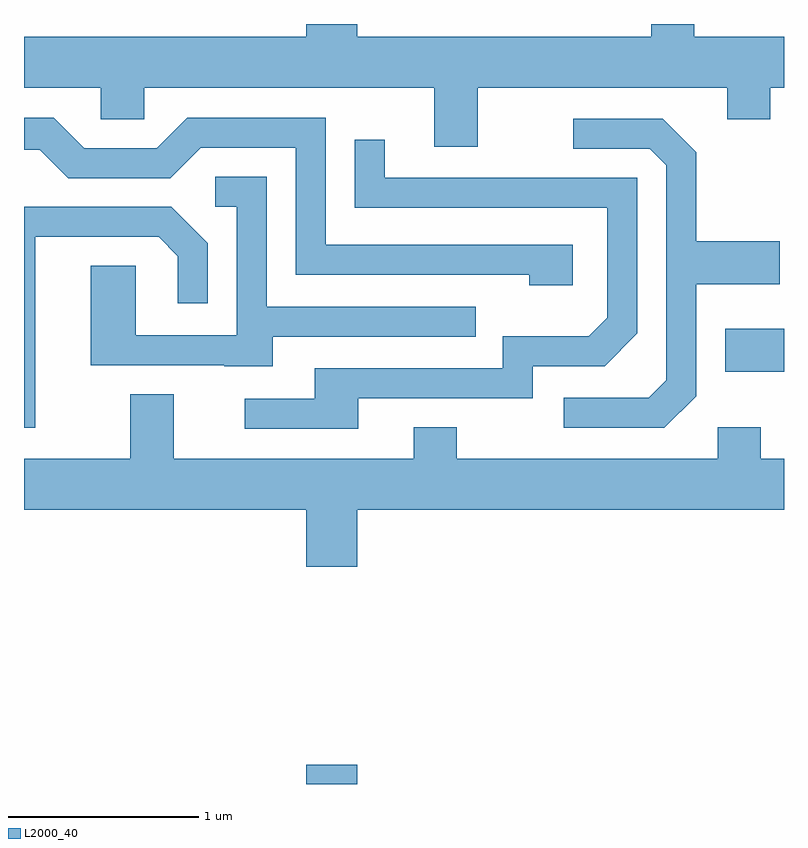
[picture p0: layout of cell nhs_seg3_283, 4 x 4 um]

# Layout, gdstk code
import gdstk
lib = gdstk.Library(unit=1e-6, precision=1e-09)
def R(c, l, rs):  # rectangles x0, y0, x1, y1
    for r in rs: c.add(gdstk.rectangle(r[:2], r[2:], *l))
def P(c, l, *ps):  # polygons
    for p in ps: c.add(gdstk.Polygon(p, *l))
L2000_40 = (2000, 40)

nhs_seg3_283 = lib.new_cell('nhs_seg3_283')
R(nhs_seg3_283, L2000_40, [(195.096,1137.892,195.364,1137.994), (197.301,1140.061,197.611,1140.289)])
P(nhs_seg3_283, L2000_40, [(195.999,1141.556),(197.311,1141.556),(197.311,1141.391),(197.539,1141.391),(197.539,1141.556),(197.611,1141.556),(197.611,1141.824),(197.139,1141.824),(197.139,1141.892),(196.911,1141.892),(196.911,1141.824),(195.364,1141.824),(195.364,1141.892),(195.096,1141.892),(195.096,1141.824),(193.611,1141.824),(193.611,1141.556),(194.016,1141.556),(194.016,1141.391),(194.244,1141.391),(194.244,1141.556),(195.771,1141.556),(195.771,1141.246),(195.999,1141.246)],
  [(196.499,1140.729),(195.199,1140.729),(195.199,1141.399),(194.469,1141.399),(194.309,1141.239),(193.927,1141.239),(193.767,1141.399),(193.611,1141.399),(193.611,1141.231),(193.694,1141.231),(193.844,1141.081),(194.382,1141.081),(194.542,1141.241),(195.041,1141.241),(195.041,1140.571),(196.271,1140.571),(196.271,1140.516),(196.499,1140.516)],
  [(197.149,1139.934),(197.149,1140.521),(197.589,1140.521),(197.589,1140.749),(197.149,1140.749),(197.149,1141.217),(196.972,1141.394),(196.503,1141.394),(196.503,1141.236),(196.904,1141.236),(196.991,1141.149),(196.991,1140.017),(196.899,1139.924),(196.453,1139.924),(196.453,1139.766),(196.982,1139.766)],
  [(195.369,1139.921),(196.289,1139.921),(196.289,1140.091),(196.667,1140.091),(196.839,1140.264),(196.839,1141.084),(195.509,1141.084),(195.509,1141.283),(195.351,1141.283),(195.351,1140.926),(196.681,1140.926),(196.681,1140.347),(196.584,1140.249),(196.131,1140.249),(196.131,1140.079),(195.141,1140.079),(195.141,1139.919),(194.773,1139.919),(194.773,1139.761),(195.369,1139.761)],
  [(194.919,1140.246),(195.988,1140.246),(195.988,1140.404),(194.889,1140.404),(194.889,1141.089),(194.618,1141.089),(194.618,1140.931),(194.731,1140.931),(194.731,1140.254),(194.199,1140.254),(194.199,1140.619),(193.961,1140.619),(193.961,1140.096),(194.665,1140.096),(194.665,1140.091),(194.919,1140.091)],
  [(193.669,1140.771),(194.319,1140.771),(194.421,1140.669),(194.421,1140.423),(194.579,1140.423),(194.579,1140.737),(194.387,1140.929),(193.611,1140.929),(193.611,1139.766),(193.669,1139.766)],
  [(195.364,1139.336),(197.611,1139.336),(197.611,1139.604),(197.489,1139.604),(197.489,1139.769),(197.261,1139.769),(197.261,1139.604),(195.889,1139.604),(195.889,1139.769),(195.661,1139.769),(195.661,1139.604),(194.399,1139.604),(194.399,1139.944),(194.171,1139.944),(194.171,1139.604),(193.611,1139.604),(193.611,1139.336),(195.096,1139.336),(195.096,1139.036),(195.364,1139.036)])

lib.write_gds('nhs_seg3_283.gds')
